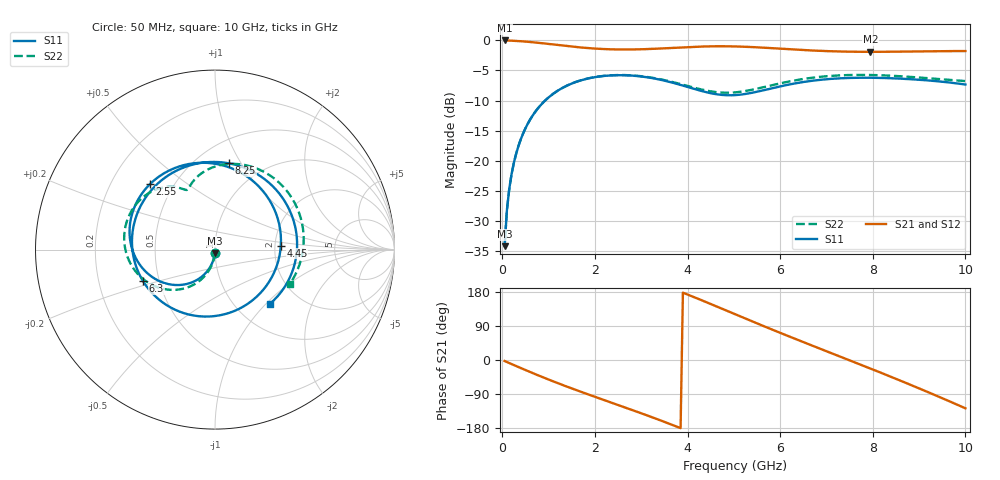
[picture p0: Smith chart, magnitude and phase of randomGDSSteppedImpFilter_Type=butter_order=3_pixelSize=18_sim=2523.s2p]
! freq	dB(S11)	phase(S11)	dB(S12)	phase(S12)
!  dB(S21)	phase(S21)	dB(S22)	phase(S22)
!S-par simulation data
#  GHz  S  DB  R 50
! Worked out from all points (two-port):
!   200 points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, 50 MHz to 10 GHz, reference 50 ohm
!   highest |S21| = 0.00 dB at 50 MHz (marker M1); lowest = -1.9 dB at 7.95 GHz (marker M2)
!   |S21| within 3 dB of the highest: start of sweep to end of sweep
!   lowest |S11| = -34.2 dB at 50 MHz (marker M3), VSWR 1.04, Z = 49.9 - j1.94 ohm
!   |S11| at or under -10 dB: start of sweep to 925.2 MHz
!   |S22| runs from -34.2 to -5.7 dB; largest |S21 - S12| = 0
!   S11 on the Smith chart (normalised r, x): 50 MHz: 1.00, -0.04; 2.55 GHz: 0.37, +0.37; 4.45 GHz: 2.15, +0.11; 6.3 GHz: 0.41, -0.18; 8.25 GHz: 0.71, +0.89; 10 GHz: 1.41, -1.05
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0.05  -34.22 -93.0  -0.00 -2.7  -0.00 -2.7  -34.22 -92.6
0.1  -28.22 -96.0  -0.01 -5.4  -0.01 -5.4  -28.21 -95.2
0.2  -22.25 -101.9  -0.04 -10.7  -0.04 -10.7  -22.25 -100.4
0.5  -14.62 -119.0  -0.19 -26.5  -0.19 -26.5  -14.61 -115.2
1.1  -8.87 -151.4  -0.68 -56.4  -0.68 -56.4  -8.86 -142.6
1.75  -6.53 175.5  -1.21 -86.2  -1.21 -86.2  -6.51 -169.0
2.55  -5.78 134.7  -1.51 -120.9  -1.51 -120.9  -5.75 162.6
3.4  -6.51 85.6  -1.35 -158.6  -1.35 -158.6  -6.43 136.8
3.95  -7.62 46.4  -1.13 175.3  -1.13 175.3  -7.46 124.3
4.45  -8.69 3.6  -0.99 150.4  -0.99 150.4  -8.40 117.6
5.05  -9.08 -54.1  -1.00 119.7  -1.00 119.7  -8.62 113.5
5.65  -8.27 -107.8  -1.21 89.1  -1.21 89.1  -7.76 105.6
6.3  -7.18 -156.3  -1.51 57.0  -1.51 57.0  -6.67 89.5
6.7  -6.70 177.4  -1.68 37.6  -1.68 37.6  -6.20 77.1
7.35  -6.28 137.0  -1.85 6.4  -1.85 6.4  -5.79 55.3
7.95  -6.21 99.9  -1.90 -22.5  -1.90 -22.5  -5.75 34.7
8.25  -6.25 80.8  -1.89 -37.2  -1.89 -37.2  -5.82 24.7
8.35  -6.28 74.3  -1.88 -42.2  -1.88 -42.2  -5.85 21.4
8.8  -6.44 44.3  -1.84 -64.7  -1.84 -64.7  -6.05 7.2
9.25  -6.69 12.7  -1.80 -87.7  -1.80 -87.7  -6.31 -5.9
9.6  -6.95 -13.3  -1.78 -106.1  -1.78 -106.1  -6.53 -15.2
10  -7.34 -45.0  -1.76 -127.4  -1.76 -127.4  -6.76 -24.8
